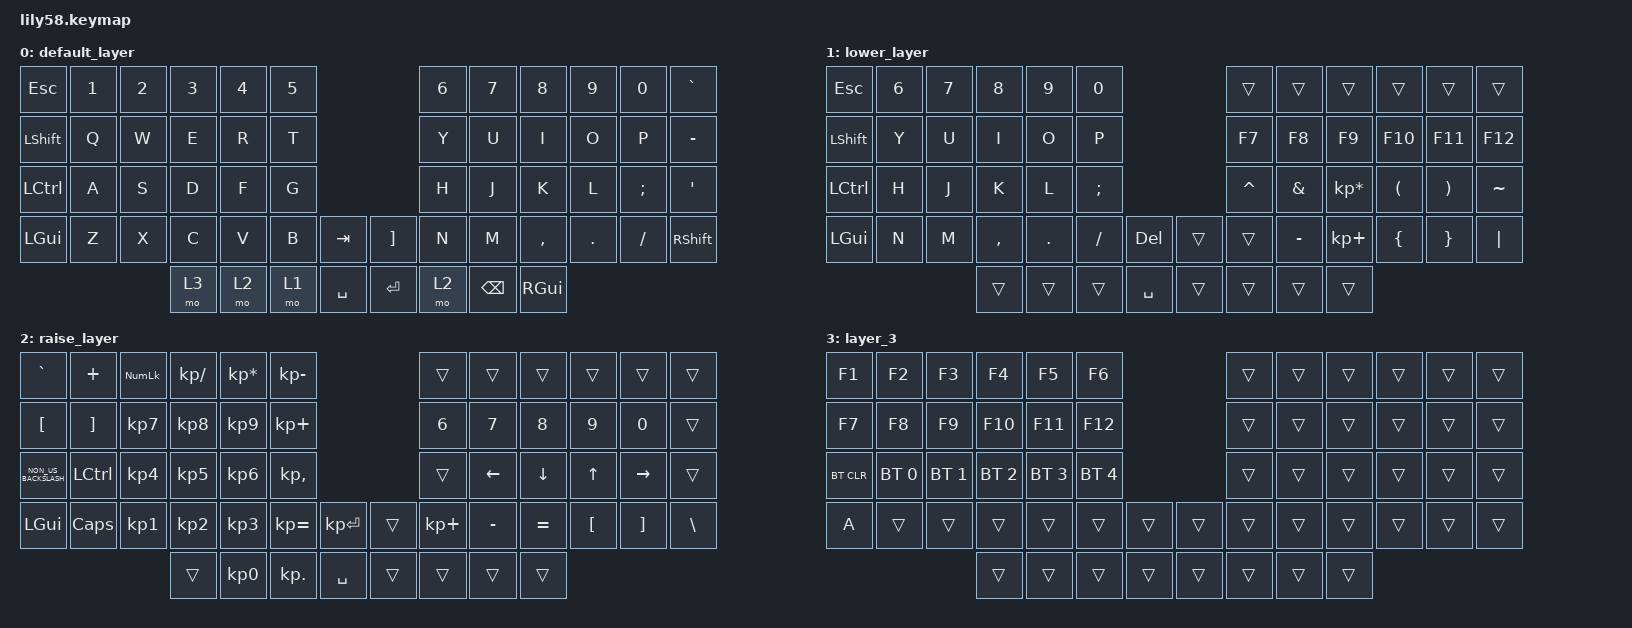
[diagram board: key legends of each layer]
/*
 * Copyright (c) 2020 The ZMK Contributors
 *
 * SPDX-License-Identifier: MIT
 */

#include <behaviors.dtsi>
#include <dt-bindings/zmk/bt.h>
#include <dt-bindings/zmk/keys.h>

/ {
    keymap {
        compatible = "zmk,keymap";

        default_layer {
            // ------------------------------------------------------------------------------------------------------------
            // |  ESC  |  1  |  2  |  3   |  4   |  5   |                   |  6   |  7    |  8    |  9   |   0   |   `   |
            // |  TAB  |  Q  |  W  |  E   |  R   |  T   |                   |  Y   |  U    |  I    |  O   |   P   |   -   |
            // |  CTRL |  A  |  S  |  D   |  F   |  G   |                   |  H   |  J    |  K    |  L   |   ;   |   '   |
            // | SHIFT |  Z  |  X  |  C   |  V   |  B   |   "["  |  |  "]"  |  N   |  M    |  ,    |  .   |   /   | SHIFT |
            //                     | ALT  | GUI  | LOWER|  SPACE |  | ENTER | RAISE| BSPC  | GUI   |

            bindings = <
&kp ESC    &kp N1  &kp N2  &kp N3  &kp N4  &kp N5                         &kp N6  &kp N7    &kp N8     &kp N9   &kp N0    &kp GRAVE
&kp LSHFT  &kp Q   &kp W   &kp E   &kp R   &kp T                          &kp Y   &kp U     &kp I      &kp O    &kp P     &kp MINUS
&kp LCTRL  &kp A   &kp S   &kp D   &kp F   &kp G                          &kp H   &kp J     &kp K      &kp L    &kp SEMI  &kp SQT
&kp LGUI   &kp Z   &kp X   &kp C   &kp V   &kp B   &kp TAB      &kp RBKT  &kp N   &kp M     &kp COMMA  &kp DOT  &kp FSLH  &kp RSHFT
                           &mo 3   &mo 2   &mo 1   &kp SPACE    &kp RET   &mo 2   &kp BSPC  &kp RGUI
            >;
        };

        lower_layer {
            // ------------------------------------------------------------------------------------------------------------
            // | BTCLR | BT1 | BT2 |  BT3 |  BT4 |  BT5 |                   |      |       |       |      |       |       |
            // |  F1   |  F2 |  F3 |  F4  |  F5  |  F6  |                   |  F7  |  F8   |  F9   |  F10 |  F11  |  F12  |
            // |   `   |  !  |  @  |  #   |  $   |  %   |                   |  ^   |  &    |  *    |  (   |   )   |   ~   |
            // |       |     |     |      |      |      |        |  |       |      |  _    |  +    |  {   |   }   |  "|"  |
            //                     |      |      |      |        |  |       |      |       |       |

            bindings = <
&kp ESC    &kp NUMBER_6  &kp N7  &kp N8     &kp N9      &kp N0                               &trans     &trans     &trans           &trans    &trans    &trans
&kp LSHFT  &kp Y         &kp U   &kp I      &kp O       &kp P                                &kp F7     &kp F8     &kp F9           &kp F10   &kp F11   &kp F12
&kp LCTRL  &kp H         &kp J   &kp K      &kp L       &kp SEMICOLON                        &kp CARET  &kp AMPS   &kp KP_MULTIPLY  &kp LPAR  &kp RPAR  &kp TILDE
&kp LGUI   &kp N         &kp M   &kp COMMA  &kp PERIOD  &kp SLASH      &kp DELETE    &trans  &trans     &kp MINUS  &kp KP_PLUS      &kp LBRC  &kp RBRC  &kp PIPE
                                 &trans     &trans      &trans         &kp SPACE     &trans  &trans     &trans     &trans
            >;
        };

        raise_layer {
            // ------------------------------------------------------------------------------------------------------------
            // |       |     |     |      |      |      |                   |      |       |       |      |       |       |
            // |   `   |  1  |  2  |  3   |  4   |  5   |                   |  6   |   7   |   8   |  9   |   0   |       |
            // |   F1  |  F2 |  F3 |  F4  |  F5  |  F6  |                   |      |   <-  |   v   |  ^   |  ->   |       |
            // |   F7  |  F8 |  F9 |  F10 |  F11 |  F12 |        |  |       |  +   |   -   |   =   |  [   |   ]   |   \   |
            //                     |      |      |      |        |  |       |      |       |       |

            bindings = <
&kp GRAVE             &kp PLUS           &kp KP_NUMLOCK  &kp KP_DIVIDE  &kp KP_MULTIPLY  &kp KP_MINUS                          &trans       &trans     &trans     &trans    &trans     &trans
&kp LEFT_BRACKET      &kp RIGHT_BRACKET  &kp KP_N7       &kp KP_N8      &kp KP_N9        &kp KP_PLUS                           &kp N6       &kp N7     &kp N8     &kp N9    &kp N0     &trans
&kp NON_US_BACKSLASH  &kp LCTRL          &kp KP_N4       &kp KP_N5      &kp KP_N6        &kp KP_COMMA                          &trans       &kp LEFT   &kp DOWN   &kp UP    &kp RIGHT  &trans
&kp LGUI              &kp CAPS           &kp KP_N1       &kp KP_N2      &kp KP_N3        &kp KP_EQUAL  &kp KP_ENTER    &trans  &kp KP_PLUS  &kp MINUS  &kp EQUAL  &kp LBKT  &kp RBKT   &kp BSLH
                                                         &trans         &kp KP_N0        &kp KP_DOT    &kp SPACE       &trans  &trans       &trans     &trans
            >;
        };

        layer_3 {
            bindings = <
&kp F1      &kp F2        &kp F3        &kp F4        &kp F5        &kp F6                          &trans  &trans  &trans  &trans  &trans  &trans
&kp F7      &kp F8        &kp F9        &kp F10       &kp F11       &kp F12                         &trans  &trans  &trans  &trans  &trans  &trans
&bt BT_CLR  &bt BT_SEL 0  &bt BT_SEL 1  &bt BT_SEL 2  &bt BT_SEL 3  &bt BT_SEL 4                    &trans  &trans  &trans  &trans  &trans  &trans
&kp A       &trans        &trans        &trans        &trans        &trans        &trans    &trans  &trans  &trans  &trans  &trans  &trans  &trans
                                        &trans        &trans        &trans        &trans    &trans  &trans  &trans  &trans
            >;
        };
    };
};
